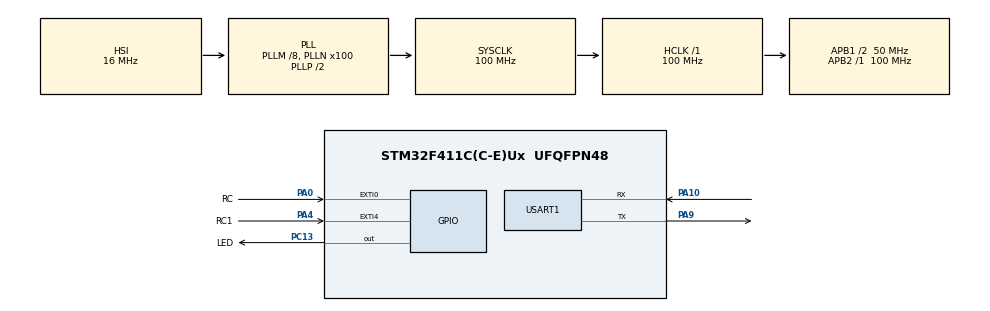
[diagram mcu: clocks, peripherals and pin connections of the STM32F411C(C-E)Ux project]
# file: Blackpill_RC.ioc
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Mcu.Family=STM32F4
Mcu.Name=STM32F411C(C-E)Ux
Mcu.Package=UFQFPN48
NVIC.EXTI0_IRQn=true\:0\:0\:false\:false\:true\:true\:true\:true
NVIC.EXTI4_IRQn=true\:0\:0\:false\:false\:true\:true\:true\:true
NVIC.PriorityGroup=NVIC_PRIORITYGROUP_4
PA0-WKUP.GPIO_Label=RC
PA0-WKUP.Signal=GPXTI0
PA10.Mode=Asynchronous
PA10.Signal=USART1_RX
PA13.Mode=Serial_Wire
PA13.Signal=SYS_JTMS-SWDIO
PA14.Mode=Serial_Wire
PA14.Signal=SYS_JTCK-SWCLK
PA4.GPIO_Label=RC1
PA4.Signal=GPXTI4
PA9.Mode=Asynchronous
PA9.Signal=USART1_TX
PC13-ANTI_TAMP.GPIO_Label=LED
PC13-ANTI_TAMP.Signal=GPIO_Output
PC14-OSC32_IN.Mode=LSE-External-Oscillator
PC14-OSC32_IN.Signal=RCC_OSC32_IN
PC15-OSC32_OUT.Mode=LSE-External-Oscillator
PC15-OSC32_OUT.Signal=RCC_OSC32_OUT
PH0\ -\ OSC_IN.Mode=HSE-External-Oscillator
PH0\ -\ OSC_IN.Signal=RCC_OSC_IN
PH1\ -\ OSC_OUT.Mode=HSE-External-Oscillator
PH1\ -\ OSC_OUT.Signal=RCC_OSC_OUT
ProjectManager.HeapSize=0x200
ProjectManager.StackSize=0x400
ProjectManager.TargetToolchain=STM32CubeIDE
RCC.48MHZClocksFreq_Value=50000000
RCC.AHBFreq_Value=100000000
RCC.APB1CLKDivider=RCC_HCLK_DIV2
RCC.APB1Freq_Value=50000000
RCC.APB1TimFreq_Value=100000000
RCC.APB2Freq_Value=100000000
RCC.APB2TimFreq_Value=100000000
RCC.CortexFreq_Value=100000000
RCC.HCLKFreq_Value=100000000
RCC.HSE_VALUE=25000000
RCC.HSI_VALUE=16000000
RCC.PLLM=8
RCC.PLLN=100
RCC.SYSCLKFreq_VALUE=100000000
RCC.SYSCLKSource=RCC_SYSCLKSOURCE_PLLCLK
RCC.VCOOutputFreq_Value=200000000
TIM11.Period=0xffff
TIM11.Prescaler=100-1
TIM2.Prescaler=100 - 1
USART1.VirtualMode=VM_ASYNC
VP_TIM11_VS_ClockSourceINT.Mode=Enable_Timer
VP_TIM2_VS_ClockSourceINT.Mode=Internal
board=custom

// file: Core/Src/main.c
/* USER CODE BEGIN Header */
/**
  ******************************************************************************
  * @file           : main.c
  * @brief          : Main program body
  ******************************************************************************
  * @attention
  *
  * Copyright (c) 2023 STMicroelectronics.
  * All rights reserved.
  *
  * This software is licensed under terms that can be found in the LICENSE file
  * in the root directory of this software component.
  * If no LICENSE file comes with this software, it is provided AS-IS.
  *
  ******************************************************************************
  */
/* USER CODE END Header */
#include "main.h"

TIM_HandleTypeDef htim2;
TIM_HandleTypeDef htim11;

UART_HandleTypeDef huart1;

/* USER CODE BEGIN PV */
volatile long ch[8];
volatile long tick = 0;
volatile uint8_t pulse = 0;
/* USER CODE END PV */

void SystemClock_Config(void);
static void MX_GPIO_Init(void);
static void MX_TIM11_Init(void);
static void MX_TIM2_Init(void);
static void MX_USART1_UART_Init(void);
/* USER CODE BEGIN PFP */
void HAL_GPIO_EXIT_Callack(uint8_t GPIO_Pin){
	if(GPIO_Pin == RC_Pin){
		HAL_GPIO_TogglePin(GPIOC,LED_Pin);
		HAL_Delay(1000);
		HAL_GPIO_TogglePin(GPIOC,LED_Pin);
		tick = __HAL_TIM_GET_COUNTER(&htim2);
		__HAL_TIM_SET_COUNTER(&htim2,0);

		if(tick<2100){
			ch[pulse] = tick;
			pulse++;
		}

		else{
			__HAL_TIM_SET_COUNTER(&htim2,0);
			pulse = 0;
		}
	}
}

/* USER CODE END PFP */

int main(void)
{

  /* MCU Configuration--------------------------------------------------------*/

  /* Reset of all peripherals, Initializes the Flash interface and the Systick. */
  HAL_Init();

  /* Configure the system clock */
  SystemClock_Config();

  /* Initialize all configured peripherals */
  MX_GPIO_Init();
  MX_TIM11_Init();
  MX_TIM2_Init();
  MX_USART1_UART_Init();
  /* USER CODE BEGIN 2 */
  HAL_TIM_Base_Start(&htim11);
  HAL_TIM_Base_Start(&htim2);
  /* USER CODE END 2 */

  /* Infinite loop */
  while (1)
  {

    /* USER CODE BEGIN 3 */
	  HAL_GPIO_TogglePin(GPIOC,LED_Pin);
	  		HAL_Delay(1000);
	  		HAL_GPIO_TogglePin(GPIOC,LED_Pin);
  }
  /* USER CODE END 3 */
}

void SystemClock_Config(void)
{
  RCC_OscInitTypeDef RCC_OscInitStruct = {0};
  RCC_ClkInitTypeDef RCC_ClkInitStruct = {0};

  /** Configure the main internal regulator output voltage
  */
  __HAL_RCC_PWR_CLK_ENABLE();
  __HAL_PWR_VOLTAGESCALING_CONFIG(PWR_REGULATOR_VOLTAGE_SCALE1);

  /** Initializes the RCC Oscillators according to the specified parameters
  * in the RCC_OscInitTypeDef structure.
  */
  RCC_OscInitStruct.OscillatorType = RCC_OSCILLATORTYPE_HSI;
  RCC_OscInitStruct.HSIState = RCC_HSI_ON;
  RCC_OscInitStruct.HSICalibrationValue = RCC_HSICALIBRATION_DEFAULT;
  RCC_OscInitStruct.PLL.PLLState = RCC_PLL_ON;
  RCC_OscInitStruct.PLL.PLLSource = RCC_PLLSOURCE_HSI;
  RCC_OscInitStruct.PLL.PLLM = 8;
  RCC_OscInitStruct.PLL.PLLN = 100;
  RCC_OscInitStruct.PLL.PLLP = RCC_PLLP_DIV2;
  RCC_OscInitStruct.PLL.PLLQ = 4;
  if (HAL_RCC_OscConfig(&RCC_OscInitStruct) != HAL_OK)
  {
    Error_Handler();
  }

  /** Initializes the CPU, AHB and APB buses clocks
  */
  RCC_ClkInitStruct.ClockType = RCC_CLOCKTYPE_HCLK|RCC_CLOCKTYPE_SYSCLK
                              |RCC_CLOCKTYPE_PCLK1|RCC_CLOCKTYPE_PCLK2;
  RCC_ClkInitStruct.SYSCLKSource = RCC_SYSCLKSOURCE_PLLCLK;
  RCC_ClkInitStruct.AHBCLKDivider = RCC_SYSCLK_DIV1;
  RCC_ClkInitStruct.APB1CLKDivider = RCC_HCLK_DIV2;
  RCC_ClkInitStruct.APB2CLKDivider = RCC_HCLK_DIV1;

  if (HAL_RCC_ClockConfig(&RCC_ClkInitStruct, FLASH_LATENCY_3) != HAL_OK)
  {
    Error_Handler();
  }
}

static void MX_TIM2_Init(void)
{

  TIM_ClockConfigTypeDef sClockSourceConfig = {0};
  TIM_MasterConfigTypeDef sMasterConfig = {0};

  htim2.Instance = TIM2;
  htim2.Init.Prescaler = 100 - 1;
  htim2.Init.CounterMode = TIM_COUNTERMODE_UP;
  htim2.Init.Period = 4294967295;
  htim2.Init.ClockDivision = TIM_CLOCKDIVISION_DIV1;
  htim2.Init.AutoReloadPreload = TIM_AUTORELOAD_PRELOAD_DISABLE;
  if (HAL_TIM_Base_Init(&htim2) != HAL_OK)
  {
    Error_Handler();
  }
  sClockSourceConfig.ClockSource = TIM_CLOCKSOURCE_INTERNAL;
  if (HAL_TIM_ConfigClockSource(&htim2, &sClockSourceConfig) != HAL_OK)
  {
    Error_Handler();
  }
  sMasterConfig.MasterOutputTrigger = TIM_TRGO_RESET;
  sMasterConfig.MasterSlaveMode = TIM_MASTERSLAVEMODE_DISABLE;
  if (HAL_TIMEx_MasterConfigSynchronization(&htim2, &sMasterConfig) != HAL_OK)
  {
    Error_Handler();
  }

}

static void MX_TIM11_Init(void)
{

  htim11.Instance = TIM11;
  htim11.Init.Prescaler = 100-1;
  htim11.Init.CounterMode = TIM_COUNTERMODE_UP;
  htim11.Init.Period = 0xffff;
  htim11.Init.ClockDivision = TIM_CLOCKDIVISION_DIV1;
  htim11.Init.AutoReloadPreload = TIM_AUTORELOAD_PRELOAD_DISABLE;
  if (HAL_TIM_Base_Init(&htim11) != HAL_OK)
  {
    Error_Handler();
  }

}

static void MX_USART1_UART_Init(void)
{

  huart1.Instance = USART1;
  huart1.Init.BaudRate = 115200;
  huart1.Init.WordLength = UART_WORDLENGTH_8B;
  huart1.Init.StopBits = UART_STOPBITS_1;
  huart1.Init.Parity = UART_PARITY_NONE;
  huart1.Init.Mode = UART_MODE_TX_RX;
  huart1.Init.HwFlowCtl = UART_HWCONTROL_NONE;
  huart1.Init.OverSampling = UART_OVERSAMPLING_16;
  if (HAL_UART_Init(&huart1) != HAL_OK)
  {
    Error_Handler();
  }

}

static void MX_GPIO_Init(void)
{
  GPIO_InitTypeDef GPIO_InitStruct = {0};

  /* GPIO Ports Clock Enable */
  __HAL_RCC_GPIOC_CLK_ENABLE();
  __HAL_RCC_GPIOH_CLK_ENABLE();
  __HAL_RCC_GPIOA_CLK_ENABLE();

  /*Configure GPIO pin Output Level */
  HAL_GPIO_WritePin(LED_GPIO_Port, LED_Pin, GPIO_PIN_RESET);

  /*Configure GPIO pin : LED_Pin */
  GPIO_InitStruct.Pin = LED_Pin;
  GPIO_InitStruct.Mode = GPIO_MODE_OUTPUT_PP;
  GPIO_InitStruct.Pull = GPIO_NOPULL;
  GPIO_InitStruct.Speed = GPIO_SPEED_FREQ_LOW;
  HAL_GPIO_Init(LED_GPIO_Port, &GPIO_InitStruct);

  /*Configure GPIO pins : RC_Pin RC1_Pin */
  GPIO_InitStruct.Pin = RC_Pin|RC1_Pin;
  GPIO_InitStruct.Mode = GPIO_MODE_IT_RISING;
  GPIO_InitStruct.Pull = GPIO_NOPULL;
  HAL_GPIO_Init(GPIOA, &GPIO_InitStruct);

  /* EXTI interrupt init*/
  HAL_NVIC_SetPriority(EXTI0_IRQn, 0, 0);
  HAL_NVIC_EnableIRQ(EXTI0_IRQn);

  HAL_NVIC_SetPriority(EXTI4_IRQn, 0, 0);
  HAL_NVIC_EnableIRQ(EXTI4_IRQn);

}

void Error_Handler(void)
{
  __disable_irq();
  while (1)
  {
  }
}
